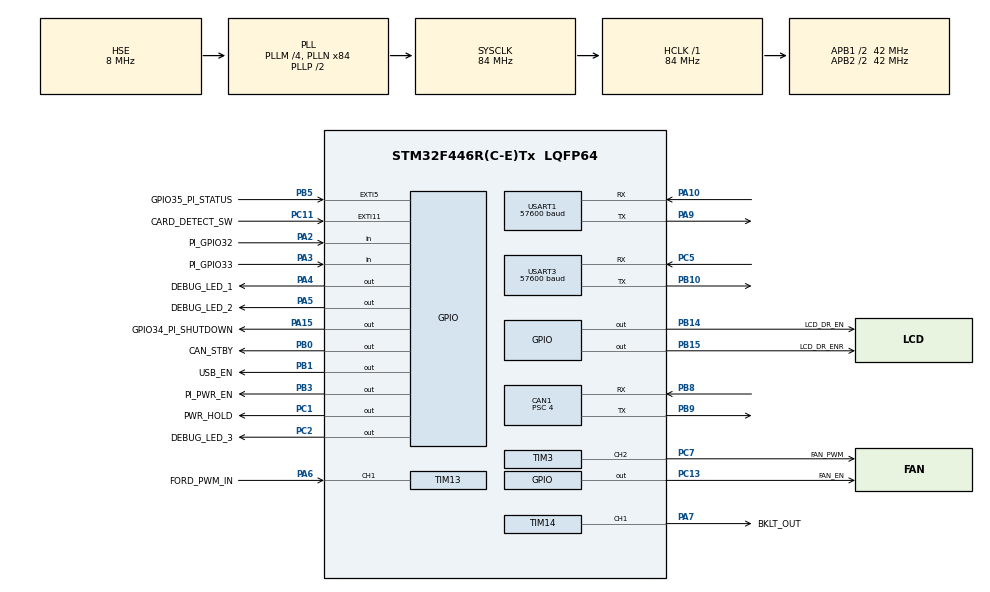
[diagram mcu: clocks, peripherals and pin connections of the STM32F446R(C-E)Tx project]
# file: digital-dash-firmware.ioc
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ADC1.Channel-0\#ChannelRegularConversion=ADC_CHANNEL_TEMPSENSOR
ADC1.ClockPrescaler=ADC_CLOCK_SYNC_PCLK_DIV4
ADC1.NbrOfConversionFlag=1
ADC1.Rank-0\#ChannelRegularConversion=1
ADC1.Resolution=ADC_RESOLUTION_12B
ADC1.SamplingTime-0\#ChannelRegularConversion=ADC_SAMPLETIME_3CYCLES
ADC1.master=1
CAN1.BS1=CAN_BS1_14TQ
CAN1.BS2=CAN_BS2_6TQ
CAN1.CalculateTimeQuantum=95.23809523809524
CAN1.NART=ENABLE
CAN1.Prescaler=4
Mcu.Family=STM32F4
Mcu.Name=STM32F446R(C-E)Tx
Mcu.Package=LQFP64
NVIC.CAN1_RX0_IRQn=true\:0\:0\:false\:false\:true\:true\:true
NVIC.CAN1_RX1_IRQn=true\:0\:0\:false\:false\:true\:true\:true
NVIC.CAN1_TX_IRQn=true\:0\:0\:false\:false\:true\:true\:true
NVIC.EXTI15_10_IRQn=true\:0\:0\:false\:false\:true\:true\:true
NVIC.EXTI9_5_IRQn=true\:0\:0\:false\:false\:true\:true\:true
NVIC.PriorityGroup=NVIC_PRIORITYGROUP_4
NVIC.TIM8_UP_TIM13_IRQn=true\:0\:0\:false\:false\:true\:true\:true
NVIC.USART1_IRQn=true\:0\:0\:false\:false\:true\:true\:true
NVIC.USART3_IRQn=true\:0\:0\:false\:false\:true\:true\:true
PA10.Mode=Asynchronous
PA10.Signal=USART1_RX
PA13.Mode=Serial_Wire
PA13.Signal=SYS_JTMS-SWDIO
PA14.Mode=Serial_Wire
PA14.Signal=SYS_JTCK-SWCLK
PA15.GPIO_Label=GPIO34_PI_SHUTDOWN
PA15.GPIO_PuPd=GPIO_PULLUP
PA15.PinState=GPIO_PIN_SET
PA15.Signal=GPIO_Output
PA2.GPIO_Label=PI_GPIO32
PA2.Signal=GPIO_Input
PA3.GPIO_Label=PI_GPIO33
PA3.Signal=GPIO_Input
PA4.GPIO_Label=DEBUG_LED_1
PA4.PinState=GPIO_PIN_RESET
PA4.Signal=GPIO_Output
PA5.GPIO_Label=DEBUG_LED_2
PA5.PinState=GPIO_PIN_RESET
PA5.Signal=GPIO_Output
PA6.GPIO_Label=FORD_PWM_IN
PA6.GPIO_PuPd=GPIO_NOPULL
PA6.Signal=S_TIM13_CH1
PA7.GPIO_Label=BKLT_OUT
PA7.Signal=S_TIM14_CH1
PA9.Mode=Asynchronous
PA9.Signal=USART1_TX
PB0.GPIO_Label=CAN_STBY
PB0.PinState=GPIO_PIN_RESET
PB0.Signal=GPIO_Output
PB1.GPIO_Label=USB_EN
PB1.PinState=GPIO_PIN_SET
PB1.Signal=GPIO_Output
PB10.Mode=Asynchronous
PB10.Signal=USART3_TX
PB14.GPIO_Label=LCD_DR_EN
PB14.GPIO_ModeDefaultOutputPP=GPIO_MODE_OUTPUT_PP
PB14.GPIO_PuPd=GPIO_PULLDOWN
PB14.PinState=GPIO_PIN_RESET
PB14.Signal=GPIO_Output
PB15.GPIO_Label=LCD_DR_ENR
PB15.GPIO_ModeDefaultOutputPP=GPIO_MODE_OUTPUT_PP
PB15.GPIO_PuPd=GPIO_PULLDOWN
PB15.PinState=GPIO_PIN_RESET
PB15.Signal=GPIO_Output
PB3.GPIO_Label=PI_PWR_EN
PB3.GPIO_ModeDefaultOutputPP=GPIO_MODE_OUTPUT_OD
PB3.PinState=GPIO_PIN_SET
PB3.Signal=GPIO_Output
PB5.GPIO_Label=GPIO35_PI_STATUS
PB5.GPIO_ModeDefaultEXTI=GPIO_MODE_IT_RISING
PB5.GPIO_PuPd=GPIO_PULLDOWN
PB5.Signal=GPXTI5
PB8.Mode=Master
PB8.Signal=CAN1_RX
PB9.Mode=Master
PB9.Signal=CAN1_TX
PC1.GPIO_Label=PWR_HOLD
PC1.Signal=GPIO_Output
PC11.GPIO_Label=CARD_DETECT_SW
PC11.GPIO_ModeDefaultEXTI=GPIO_MODE_IT_RISING_FALLING
PC11.GPIO_PuPd=GPIO_PULLUP
PC11.Signal=GPXTI11
PC13.GPIO_Label=FAN_EN
PC13.Signal=GPIO_Output
PC2.GPIO_Label=DEBUG_LED_3
PC2.PinState=GPIO_PIN_RESET
PC2.Signal=GPIO_Output
PC5.Mode=Asynchronous
PC5.Signal=USART3_RX
PC7.GPIO_Label=FAN_PWM
PC7.Signal=S_TIM3_CH2
PH0-OSC_IN.Mode=HSE-External-Oscillator
PH0-OSC_IN.Signal=RCC_OSC_IN
PH1-OSC_OUT.Mode=HSE-External-Oscillator
PH1-OSC_OUT.Signal=RCC_OSC_OUT
ProjectManager.HeapSize=0x200
ProjectManager.StackSize=0x400
ProjectManager.TargetToolchain=STM32CubeIDE
RCC.AHBFreq_Value=84000000
RCC.APB1CLKDivider=RCC_HCLK_DIV2
RCC.APB1Freq_Value=42000000
RCC.APB1TimFreq_Value=84000000
RCC.APB2CLKDivider=RCC_HCLK_DIV2
RCC.APB2Freq_Value=42000000
RCC.APB2TimFreq_Value=84000000
RCC.CortexFreq_Value=84000000
RCC.HCLKFreq_Value=84000000
RCC.HSE_VALUE=8000000
RCC.PLLM=4
RCC.PLLN=84
RCC.PLLSourceVirtual=RCC_PLLSOURCE_HSE
RCC.SYSCLKFreq_VALUE=84000000
RCC.SYSCLKSource=RCC_SYSCLKSOURCE_PLLCLK
RCC.USBFreq_Value=84000000
RCC.VCOOutputFreq_Value=168000000
SH.S_TIM13_CH1.0=TIM13_CH1,Input_Capture1_from_TI1
SH.S_TIM14_CH1.0=TIM14_CH1,PWM Generation1 CH1
SH.S_TIM3_CH2.0=TIM3_CH2,PWM Generation2 CH2
TIM13.AutoReloadPreload=TIM_AUTORELOAD_PRELOAD_ENABLE
TIM13.Channel=TIM_CHANNEL_1
TIM13.ICPolarity_CH1=TIM_INPUTCHANNELPOLARITY_RISING
TIM13.Period=6700-1
TIM13.Prescaler=84-1
TIM14.Channel=TIM_CHANNEL_1
TIM14.Period=255
TIM14.Prescaler=1
TIM14.Pulse=200
TIM2.Period=10000-1
TIM2.Prescaler=8400-1
TIM3.Channel-PWM\ Generation2\ CH2=TIM_CHANNEL_2
TIM3.Period=10000-1
TIM3.Prescaler=8400-1
TIM3.Pulse-PWM\ Generation2\ CH2=2500-1
TIM8.Period=8000-1
TIM8.Prescaler=64000-1
USART1.BaudRate=57600
USART1.VirtualMode=VM_ASYNC
USART3.BaudRate=57600
USART3.VirtualMode=VM_ASYNC
VP_ADC1_TempSens_Input.Mode=IN-TempSens
VP_TIM13_VS_ClockSourceINT.Mode=Enable_Timer
VP_TIM14_VS_ClockSourceINT.Mode=Enable_Timer
VP_TIM2_VS_ClockSourceINT.Mode=Internal
VP_TIM3_VS_ClockSourceINT.Mode=Internal
VP_TIM8_VS_ClockSourceINT.Mode=Internal
board=custom

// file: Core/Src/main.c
/* USER CODE BEGIN Header */
/**
  ******************************************************************************
  * @file           : main.c
  * @brief          : Main program body
  ******************************************************************************
  * @attention
  *
  * <h2><center>&copy; Copyright (c) 2020 STMicroelectronics.
  * All rights reserved.</center></h2>
  *
  * This software component is licensed by ST under BSD 3-Clause license,
  * the "License"; You may not use this file except in compliance with the
  * License. You may obtain a copy of the License at:
  *                        opensource.org/licenses/BSD-3-Clause
  *
  ******************************************************************************
  */
/* USER CODE END Header */

#include "main.h"
#include "adc.h"
#include "can.h"
#include "tim.h"
#include "usart.h"
#include "gpio.h"

/* USER CODE BEGIN Includes */

#include "lib_digital_dash.h"

/* USER CODE END Includes */

/* USER CODE BEGIN PD */

/*******************************************************************************
 * Begin Debug Flags ( 0 = Disable, 1 = Enable )
 ******************************************************************************/

#define LCD_ALWAYS_ON       0 /* Force the LCD on as long as the Pi can boot */
#define CAN_IT              1 /* Enable/disable CAN bus interrupts */

/*******************************************************************************
 * End Debug Flags
 ******************************************************************************/

/* STM32F446 has 14 dedicated filter banks for CAN 1 */
#define STM32F446_NUM_CAN1_FILTERBANK 14

/* STM32F446 has 14 filter banks for CAN 1 or CAN 2 */
#define STM32F446_NUM_CAN2_FILTERBANK 14

/* The current firmware is only using CAN1 and we don't have a need to occupy the upper 14 filters */
#define MAX_NUM_CAN_FILTERS STM32F446_NUM_CAN1_FILTERBANK

/* Ford Backlight timer defines */
#define FORD_FOCUS_BACKLIGHT_TIM                &htim13
#define FORD_FOCUS_BACKLIGHT_TIM_CHANNEL        TIM_CHANNEL_1
#define FORD_FOCUS_BACKLIGHT_TIM_ACTIVE_CHANNEL HAL_TIM_ACTIVE_CHANNEL_1

/* Digital Dash LCD timer */
#define BKLT_TIM     htim14
#define PBKLT_TIM    &BKLT_TIM
#define BKLT_CHANNEL TIM_CHANNEL_1
#define BKLT_MIN     10  /* Lowest Duty cycle before the screen turns off */
#define BKLT_MAX     255 /* Max Duty cycle */

#define PI_UART &huart1 /* Raspberry Pi communication channel */
#define ECU_CAN &hcan1  /* Primary CAN bus communication (OEM connector) */

#define FAN_PWM 1       /* PCB-DDMB-STRS REV A does not have PWM functionality */

#define POWER_HOLD_TIM     htim8
#define PTR_POWER_HOLD_TIM &POWER_HOLD_TIM

/* USER CODE END PD */

/* USER CODE BEGIN PM */
#define BITSET(word,nbit)   ((word) |=  (1<<(nbit)))
#define BITCLEAR(word,nbit) ((word) &= ~(1<<(nbit)))
#define BITFLIP(word,nbit)  ((word) ^=  (1<<(nbit)))
#define BITCHECK(word,nbit) ((word) &   (1<<(nbit)))
/* USER CODE END PM */

/* USER CODE BEGIN PV */

/* UART RX'd byte */
static uint8_t rx_byte;

/* Timers for debug LEDs */
static uint32_t LED1_Tick = 0;
static uint32_t LED2_Tick = 0;
static uint32_t LED3_Tick = 0;

static uint32_t Sys_Tick  = 0;

/* Number of filters in use */
static uint8_t CAN_Filter_Count = 0;

/* Flag to override auto LCD brightness */
static uint8_t gpio_LCD_override = 0;

volatile uint32_t can_tx_mailbox_status = 0;
volatile uint32_t can_rx_mailbox_status = 0;

static volatile uint32_t system_flags = 0;
    #define SD_CARD_PRESENT     0
    #define PI_PWR_EN           1
    #define PI_PWR_FAULT        2
    #define PI_SHUTTING_DOWN    3
    #define LCD_PWR_EN          4
    #define LCD_BACKLIGHT_EN    5
    #define USB_PWR_EN          6
    #define USB_PWR_FAULT       7
    #define FAN_PWR_EN          8
    #define FAN_PWR_FAULT       9
    #define CAN1_EN             10

#define MCU_THERMAL_THRESH 77
/* USER CODE END PV */

void SystemClock_Config(void);

/* USER CODE BEGIN 0 */
typedef enum _sys_pwr_hold {
	SYS_PWR_HOLD_DISABLE,
	SYS_PWR_HOLD_ENABLE
} SYS_PWR_HOLD, *PSYS_PWR_HOLD;

static void Motherboard_Sleep( void )
{
    HAL_GPIO_WritePin( DEBUG_LED_1_GPIO_Port, DEBUG_LED_1_Pin, GPIO_PIN_RESET );
    HAL_GPIO_WritePin( DEBUG_LED_2_GPIO_Port, DEBUG_LED_2_Pin, GPIO_PIN_RESET );
    HAL_GPIO_WritePin( DEBUG_LED_3_GPIO_Port, DEBUG_LED_3_Pin, GPIO_PIN_RESET );
    //HAL_SuspendTick();
    //HAL_PWR_EnterSLEEPMode(PWR_MAINREGULATOR_ON, PWR_SLEEPENTRY_WFI);
}

static void System_Power_Hold( SYS_PWR_HOLD state )
{
	if( state == SYS_PWR_HOLD_ENABLE )
		HAL_GPIO_WritePin( PWR_HOLD_GPIO_Port, PWR_HOLD_Pin, PWR_HOLD_Active );
	else
		HAL_GPIO_WritePin( PWR_HOLD_GPIO_Port, PWR_HOLD_Pin, PWR_HOLD_Inactive );
}

typedef enum _debug_led {
    DEBUG_LED_1,
    DEBUG_LED_2,
    DEBUG_LED_3,
} DEBUG_LED, *PDEBUG_LED;

static void flash_led( DEBUG_LED led )
{
    if( BITCHECK(system_flags, PI_PWR_EN) == 0 )
        return;
    if( led == DEBUG_LED_1 )
    {
        LED1_Tick = 50;
        HAL_GPIO_WritePin( DEBUG_LED_1_GPIO_Port, DEBUG_LED_1_Pin, GPIO_PIN_SET );
    }
    else if( led == DEBUG_LED_2 )
    {
        LED2_Tick = 50;
        HAL_GPIO_WritePin( DEBUG_LED_2_GPIO_Port, DEBUG_LED_2_Pin, GPIO_PIN_SET );
    }
    else if( led == DEBUG_LED_3 )
    {
        LED3_Tick = 50;
        HAL_GPIO_WritePin( DEBUG_LED_3_GPIO_Port, DEBUG_LED_3_Pin, GPIO_PIN_SET );
    }
}

void HAL_CAN_TxMailbox0CompleteCallback( CAN_HandleTypeDef *hcan )
{
    can_tx_mailbox_status &= ~CAN_TX_MAILBOX0;
}

void HAL_CAN_TxMailbox1CompleteCallback( CAN_HandleTypeDef *hcan )
{
    can_tx_mailbox_status &= ~CAN_TX_MAILBOX1;
}

void HAL_CAN_TxMailbox2CompleteCallback( CAN_HandleTypeDef *hcan )
{
    can_tx_mailbox_status &= ~CAN_TX_MAILBOX2;
}

HAL_StatusTypeDef can_filter( CAN_HandleTypeDef *pcan, uint32_t id, uint32_t mask, uint32_t format, uint32_t filterBank, uint32_t FIFO  )
{
	/* Verify correct format */
    if ( (format == CAN_ID_STD) || (format == CAN_ID_EXT) )
    {
        /* Declare a CAN filter configuration */
        CAN_FilterTypeDef  sFilterConfig;

        /* Verify the filter bank is possible */
        if ( ( filterBank >= 0 ) && ( filterBank <= 13 ) )
            sFilterConfig.FilterBank = filterBank;
        else
            return -1;

        sFilterConfig.FilterMode = CAN_FILTERMODE_IDMASK;
        sFilterConfig.FilterScale = CAN_FILTERSCALE_32BIT;

        if (format == CAN_ID_STD) {
            sFilterConfig.FilterIdHigh = ((id << 5) | (id >> (32 - 5))) & 0xFFFF;
            sFilterConfig.FilterIdLow =  (id >> (11-3)) & 0xFFF8;
            sFilterConfig.FilterMaskIdHigh = ((mask << 5) | (mask >> (32-5))) & 0xFFFF;
            sFilterConfig.FilterMaskIdLow = (mask >> (11-3)) & 0xFFF8;
        } else { // format == CANExtended
            sFilterConfig.FilterIdHigh = id >> 13; // EXTID[28:13]
            sFilterConfig.FilterIdLow = (0xFFFF & (id << 3)) | (1 << 2); // EXTID[12:0] + IDE
            sFilterConfig.FilterMaskIdHigh = mask >> 13;
            sFilterConfig.FilterMaskIdLow = (0xFFFF & (mask << 3)) | (1 << 2);
        }

        sFilterConfig.FilterFIFOAssignment = FIFO;
        sFilterConfig.FilterActivation = ENABLE;
        sFilterConfig.FilterBank = filterBank;
        sFilterConfig.SlaveStartFilterBank = 0x12;

        return HAL_CAN_ConfigFilter(pcan, &sFilterConfig);
    }
    return HAL_ERROR;
}

void process_can_packet( CAN_HandleTypeDef *hcan, uint32_t fifo )
{
    HAL_ResumeTick();
    flash_led( DEBUG_LED_1 );
    CAN_RxHeaderTypeDef rx_header;
    uint8_t rx_buf[8];
    HAL_CAN_GetRxMessage( hcan, fifo, &rx_header, rx_buf );

    if( rx_header.IDE == CAN_ID_STD )
        DigitalDash_Add_CAN_Packet( rx_header.StdId ,rx_buf);

    can_rx_mailbox_status |= fifo;
}

void HAL_CAN_RxFifo0MsgPendingCallback( CAN_HandleTypeDef *hcan )
{
    process_can_packet( hcan, CAN_RX_FIFO0 );
}

void HAL_CAN_RxFifo1MsgPendingCallback( CAN_HandleTypeDef *hcan )
{
    process_can_packet( hcan, CAN_RX_FIFO1 );
}

static void LCD_Brightness( uint8_t brightness)
{
    if( gpio_LCD_override )
    {
        if( BITCHECK( system_flags, LCD_BACKLIGHT_EN ) == 0 )
        {
            /* Backlight is enabled */
            BITSET( system_flags, LCD_BACKLIGHT_EN );

            brightness = 255;

            BKLT_TIM.Instance->CCR1 = brightness;
            HAL_GPIO_WritePin(LCD_DR_ENR_GPIO_Port, LCD_DR_ENR_Pin, GPIO_PIN_SET);
            HAL_GPIO_WritePin(LCD_DR_EN_GPIO_Port, LCD_DR_EN_Pin, GPIO_PIN_SET);
            if( (BKLT_TIM.Instance->CR1 & TIM_CR1_CEN) == 0 )
            	HAL_TIM_PWM_Start(PBKLT_TIM, BKLT_CHANNEL);
        }
    }
    else if( brightness == 0x00 )
    {
#if !LCD_ALWAYS_ON
        /* Backlight is not enabled */
        BITCLEAR( system_flags, LCD_BACKLIGHT_EN );

        HAL_GPIO_WritePin(LCD_DR_ENR_GPIO_Port, LCD_DR_ENR_Pin, GPIO_PIN_RESET);
        HAL_GPIO_WritePin(LCD_DR_EN_GPIO_Port, LCD_DR_EN_Pin, GPIO_PIN_RESET);
        HAL_TIM_PWM_Stop(PBKLT_TIM, BKLT_CHANNEL);
#endif
    } else
    {
        /* Backlight is enabled */
        BITSET( system_flags, LCD_BACKLIGHT_EN );

        BKLT_TIM.Instance->CCR1 = brightness;
        HAL_GPIO_WritePin(LCD_DR_ENR_GPIO_Port, LCD_DR_ENR_Pin, GPIO_PIN_SET);
        HAL_GPIO_WritePin(LCD_DR_EN_GPIO_Port, LCD_DR_EN_Pin, GPIO_PIN_SET);
        if( (BKLT_TIM.Instance->CR1 & TIM_CR1_CEN) == 0 )
        	HAL_TIM_PWM_Start(PBKLT_TIM, BKLT_CHANNEL);
    }
}

static void USB_Power( USB_PWR_STATE state )
{
    if( state == USB_PWR_ENABLED )
        HAL_GPIO_WritePin( USB_EN_GPIO_Port, USB_EN_Pin, GPIO_PIN_SET );
    else
        HAL_GPIO_WritePin( USB_EN_GPIO_Port, USB_EN_Pin, GPIO_PIN_RESET );
}

static void Get_SD_Card_State( void )
{
    if( HAL_GPIO_ReadPin( CARD_DETECT_SW_GPIO_Port, CARD_DETECT_SW_Pin ) == GPIO_PIN_RESET )
    {
        BITSET(system_flags, SD_CARD_PRESENT);
        dd_update_sd_card_state( SD_PRESENT );
    } else
    {
        BITCLEAR(system_flags, SD_CARD_PRESENT);
        dd_update_sd_card_state( SD_NOT_PRESENT );
    }
}

static void Fan_Control( FAN_PWR_STATE state )
{
        #if FAN_PWM
        switch( state )
        {
        case FAN_MAX:
            /* Enable power to the Fan */
            HAL_GPIO_WritePin( FAN_EN_GPIO_Port, FAN_EN_Pin, GPIO_PIN_SET );
            htim3.Instance->CCR2 = htim3.Instance->ARR + 1;
            HAL_TIM_PWM_Start(&htim3, TIM_CHANNEL_2);
            break;
        case FAN_MED:
            /* Enable power to the Fan */
            HAL_GPIO_WritePin( FAN_EN_GPIO_Port, FAN_EN_Pin, GPIO_PIN_SET );
            htim3.Instance->CCR2 = (htim3.Instance->ARR) - 1500;
            HAL_TIM_PWM_Start(&htim3, TIM_CHANNEL_2);
            break;
        case FAN_MIN:
            /* Enable power to the Fan */
            HAL_GPIO_WritePin( FAN_EN_GPIO_Port, FAN_EN_Pin, GPIO_PIN_SET );
            htim3.Instance->CCR2 = (htim3.Instance->ARR) - 3000;
            HAL_TIM_PWM_Start(&htim3, TIM_CHANNEL_2);
            break;
        case FAN_OFF:
            /* Disable power to the Fan */
            HAL_GPIO_WritePin( FAN_EN_GPIO_Port, FAN_EN_Pin, GPIO_PIN_RESET );
            HAL_TIM_PWM_Stop(&htim3, TIM_CHANNEL_2);
            break;
        }
        #else
        if( state > FAN_OFF )
        {
            /* Enable power to the Fan */
            HAL_GPIO_WritePin( FAN_EN_GPIO_Port, FAN_EN_Pin, GPIO_PIN_SET );
            htim2.Instance->CCR3 = htim2.Instance->ARR;
            HAL_TIM_PWM_Start(&htim2, TIM_CHANNEL_3);
        } else {
            /* Disable power to the Fan */
            HAL_GPIO_WritePin( FAN_EN_GPIO_Port, FAN_EN_Pin, GPIO_PIN_RESET );
            HAL_TIM_PWM_Stop(&htim2, TIM_CHANNEL_3);
        }

        #endif
}

static void Pi_Power( HOST_PWR_STATE state )
{
    if( state == HOST_PWR_ENABLED )
    {
        HAL_GPIO_WritePin( GPIO34_PI_SHUTDOWN_GPIO_Port, GPIO34_PI_SHUTDOWN_Pin, GPIO_PIN_SET );
        HAL_GPIO_WritePin( PI_PWR_EN_GPIO_Port, PI_PWR_EN_Pin, GPIO_PIN_SET );
        BITSET(system_flags, PI_PWR_EN);
    } else if ( state == HOST_PWR_SLEEP )
    {
        Fan_Control( FAN_OFF );
        LCD_Brightness( 0 );
        HAL_GPIO_WritePin( GPIO34_PI_SHUTDOWN_GPIO_Port, GPIO34_PI_SHUTDOWN_Pin, GPIO_PIN_RESET );
        System_Power_Hold( SYS_PWR_HOLD_ENABLE );
        POWER_HOLD_TIM.Instance->CNT = 0;
        __HAL_TIM_CLEAR_FLAG( PTR_POWER_HOLD_TIM, TIM_IT_UPDATE );
        HAL_TIM_Base_Start_IT( PTR_POWER_HOLD_TIM );
        BITSET(system_flags, PI_SHUTTING_DOWN);
    } else
    {
        Fan_Control( FAN_OFF );
        LCD_Brightness( 0 );
        System_Power_Hold( SYS_PWR_HOLD_DISABLE );
        BITCLEAR(system_flags, PI_PWR_EN);
    }

}

static uint8_t Rasp_Pi_Tx( uint8_t *data, uint8_t len )
{
	flash_led(DEBUG_LED_3);
    if( HAL_UART_Transmit_IT(PI_UART, data, len) == HAL_OK )
        return 1;
    else
        return 0;
}

static void Add_CAN_Filter( uint16_t id )
{
	if( CAN_Filter_Count < MAX_NUM_CAN_FILTERS )
	{
		if( can_filter( &hcan1, id, 0x7FF, CAN_ID_STD, CAN_Filter_Count++, CAN_FILTER_FIFO0 ) != HAL_OK )
			Error_Handler();
	}
}

static uint8_t ECU_CAN_Tx( uint8_t data[], uint8_t len )
{

	CAN_TxHeaderTypeDef Header = {
	           .DLC                = len,
	           .ExtId              = 0x7E0,
	           .StdId              = 0x7E0,
	           .IDE                = CAN_ID_STD,
	           .RTR                = CAN_RTR_DATA,
	           .TransmitGlobalTime = DISABLE
	};

    uint32_t pTxMailbox = 0;

    /* Copy the buffer */
    uint8_t tx_buf[8];
    memcpy(tx_buf, data, 8);

    /* TODO check for free mailbox */
    if( HAL_CAN_AddTxMessage( ECU_CAN, &Header, tx_buf, &pTxMailbox ) == HAL_OK )
    {
    	/* Log which mailbox sent the packet */
    	can_tx_mailbox_status |= pTxMailbox;
        return 1;
    }
    else
    {
    	flash_led(DEBUG_LED_2);
        return 0;
    }
}

void Digitaldash_Init( void )
{
    DIGITALDASH_CONFIG config;
    config.dd_ecu_tx            = &ECU_CAN_Tx;
    config.dd_fan_ctrl          = &Fan_Control;
    config.dd_get_sd_card_state = &Get_SD_Card_State;
    config.dd_host_ctrl         = &Pi_Power;
    config.dd_ke_tx             = &Rasp_Pi_Tx;
    config.dd_set_backlight     = &LCD_Brightness;
    config.dd_usb               = &USB_Power;
    config.dd_filter            = &Add_CAN_Filter;

    if( digitaldash_init( &config ) != DIGITALDASH_INIT_OK )
        Error_Handler();
}

#define TEMP_SENSOR_AVG_SLOPE_MV_PER_CELSIUS                        2.5f
#define TEMP_SENSOR_VOLTAGE_MV_AT_25                                760.0f
#define ADC_REFERENCE_VOLTAGE_MV                                    3300.0f
#define ADC_MAX_OUTPUT_VALUE                                        4095.0f
#define TEMP110_CAL_VALUE                                           ((uint16_t*)((uint32_t)0x1FFF7A2E))
#define TEMP30_CAL_VALUE                                            ((uint16_t*)((uint32_t)0x1FFF7A2C))
#define TEMP110                                                     110.0f
#define TEMP30                                                      30.0f

int32_t get_mcu_internal_temp( void )
{
		int32_t temperature = 0;
		float sensorValue = 0;

		HAL_ADC_Start(&hadc1);
		if(HAL_ADC_PollForConversion(&hadc1, 100) == HAL_OK)
		{
		  sensorValue = (float)HAL_ADC_GetValue(&hadc1);
		  HAL_ADC_Stop(&hadc1);
		  temperature = (int32_t)((TEMP110 - TEMP30) / ((float)(*TEMP110_CAL_VALUE) - (float)(*TEMP30_CAL_VALUE)) * (sensorValue - (float)(*TEMP30_CAL_VALUE)) + TEMP30);
		}
		else
		{
		  temperature = -273;
		}

		return temperature;
}

static void DigitalDash_Off( void )
{
    /* Stop the timer, Pi shutdown already */
    HAL_TIM_Base_Stop_IT( PTR_POWER_HOLD_TIM );

    /* The Pi has indicated a complete shutdown */
    BITCLEAR( system_flags, PI_SHUTTING_DOWN );

    /* Allow the vehicle to shutdown the Digital Dash */
    System_Power_Hold( SYS_PWR_HOLD_DISABLE );

    /* Cut all power to the Raspberry Pi */
    HAL_GPIO_WritePin( PI_PWR_EN_GPIO_Port, PI_PWR_EN_Pin, GPIO_PIN_RESET );
    BITCLEAR( system_flags, PI_PWR_EN );

    /*
     * Put the Digital Dash motherboard in sleep mode,
     * this only effects vehicles that cannot use hardware
     * to shutdown the Digital Dash such as early model
     * Focus ST's.
     */
    Motherboard_Sleep();
}

void HAL_TIM_PeriodElapsedCallback( TIM_HandleTypeDef *htim )
{
    if( htim == PTR_POWER_HOLD_TIM )
    {
        /*
         * The Pi never drove a signal HIGH on successful shutdown.
         * Shut off to the Pi anyways to reduce power draw and set
         * the Digital Dash into low power state.
         */
        DigitalDash_Off();
    }
}

void HAL_GPIO_EXTI_Callback(uint16_t GPIO_Pin)
{
    /*
     * The Pi is expected to drive a signal HIGH when
     * it has successfully shutdown, at which point the
     * power can be shut off and the Digital Dash can go
     * into low power state.
     */
    if( GPIO_Pin == GPIO35_PI_STATUS_Pin )
    {
        /*
         * This code is not being used yet, instead a timer is used to delay the
         * shutdown. This code should be enabled when the Raspberry Pi can
         * reliably drive the GPIO pin HIGH when it has shutdown.
         */
        //HAL_GPIO_WritePin( DEBUG_LED_2_GPIO_Port, DEBUG_LED_2_Pin, GPIO_PIN_SET);
        //HAL_Delay(100);
        //DigitalDash_Off();
    }
}

/* USER CODE END 0 */

int main(void)
{

  /* MCU Configuration--------------------------------------------------------*/

  /* Reset of all peripherals, Initializes the Flash interface and the Systick. */
  HAL_Init();

  /* Configure the system clock */
  SystemClock_Config();

  /* Initialize all configured peripherals */
  MX_GPIO_Init();
  MX_CAN1_Init();
  MX_TIM3_Init();
  MX_TIM14_Init();
  MX_USART1_UART_Init();
  MX_ADC1_Init();
  MX_TIM2_Init();
  MX_TIM13_Init();
  MX_TIM8_Init();
  MX_USART3_UART_Init();
  /* USER CODE BEGIN 2 */

  HAL_TIM_PWM_Start( &htim2, TIM_CHANNEL_3 );
  HAL_GPIO_WritePin( FAN_EN_GPIO_Port, FAN_EN_Pin, GPIO_PIN_RESET );

  /* Prevent unwanted power-down */
  System_Power_Hold( SYS_PWR_HOLD_DISABLE );

  //Fan_Control( FAN_PWR_ENABLED );

  if( get_mcu_internal_temp() > MCU_THERMAL_THRESH )
  {
	  Fan_Control( FAN_MAX );

	  while( get_mcu_internal_temp() > MCU_THERMAL_THRESH ) { }
  }

#if ENABLE_ALL_CAN_MSG
  for(uint8_t filter_bank = 0; filter_bank < STM32F446_NUM_CAN1_FILTERBANK; filter_bank++)
  {
      if( can_filter( &hcan1, 0x0000, 0x0000, CAN_ID_STD, 0, CAN_FILTER_FIFO0 ) != HAL_OK )
          Error_Handler();
  }
#else
      Add_CAN_Filter( 0x7E8 );
      Add_CAN_Filter( 0x7E0 );
#endif

  if( HAL_CAN_Start( &hcan1 ) != HAL_OK )
      Error_Handler();

#if CAN_IT
  if( HAL_CAN_ActivateNotification( &hcan1, CAN_IT_RX_FIFO0_MSG_PENDING | CAN_IT_RX_FIFO1_MSG_PENDING | CAN_IT_TX_MAILBOX_EMPTY) != HAL_OK )
      Error_Handler();
#endif

  Digitaldash_Init();

#if LCD_ALWAYS_ON
  LCD_Brightness( 255 );
#endif

  /* Configure the UART intetupt */
  HAL_UART_Receive_IT( PI_UART, &rx_byte, 1 );

  /* USER CODE END 2 */

  /* Infinite loop */
  /* USER CODE BEGIN WHILE */
  while (1)
  {
#if !CAN_IT
    if( HAL_CAN_GetRxFifoFillLevel( ECU_CAN, CAN_RX_FIFO0 ) > 0 )
        process_can_packet( ECU_CAN, CAN_RX_FIFO0 );
    else if( HAL_CAN_GetRxFifoFillLevel( ECU_CAN, CAN_RX_FIFO1 ) > 0 )
        process_can_packet( ECU_CAN, CAN_RX_FIFO1 );
#endif

    digitaldash_service();

    /* USER CODE END WHILE */

  }
}

void SystemClock_Config(void)
{
  RCC_OscInitTypeDef RCC_OscInitStruct = {0};
  RCC_ClkInitTypeDef RCC_ClkInitStruct = {0};

  /** Configure the main internal regulator output voltage
  */
  __HAL_RCC_PWR_CLK_ENABLE();
  __HAL_PWR_VOLTAGESCALING_CONFIG(PWR_REGULATOR_VOLTAGE_SCALE3);
  /** Initializes the CPU, AHB and APB busses clocks
  */
  RCC_OscInitStruct.OscillatorType = RCC_OSCILLATORTYPE_HSE;
  RCC_OscInitStruct.HSEState = RCC_HSE_ON;
  RCC_OscInitStruct.PLL.PLLState = RCC_PLL_ON;
  RCC_OscInitStruct.PLL.PLLSource = RCC_PLLSOURCE_HSE;
  RCC_OscInitStruct.PLL.PLLM = 4;
  RCC_OscInitStruct.PLL.PLLN = 84;
  RCC_OscInitStruct.PLL.PLLP = RCC_PLLP_DIV2;
  RCC_OscInitStruct.PLL.PLLQ = 2;
  RCC_OscInitStruct.PLL.PLLR = 2;
  if (HAL_RCC_OscConfig(&RCC_OscInitStruct) != HAL_OK)
  {
    Error_Handler();
  }
  /** Initializes the CPU, AHB and APB busses clocks
  */
  RCC_ClkInitStruct.ClockType = RCC_CLOCKTYPE_HCLK|RCC_CLOCKTYPE_SYSCLK
                              |RCC_CLOCKTYPE_PCLK1|RCC_CLOCKTYPE_PCLK2;
  RCC_ClkInitStruct.SYSCLKSource = RCC_SYSCLKSOURCE_PLLCLK;
  RCC_ClkInitStruct.AHBCLKDivider = RCC_SYSCLK_DIV1;
  RCC_ClkInitStruct.APB1CLKDivider = RCC_HCLK_DIV2;
  RCC_ClkInitStruct.APB2CLKDivider = RCC_HCLK_DIV2;

  if (HAL_RCC_ClockConfig(&RCC_ClkInitStruct, FLASH_LATENCY_2) != HAL_OK)
  {
    Error_Handler();
  }
}

/* USER CODE BEGIN 4 */

void HAL_UART_RxCpltCallback(UART_HandleTypeDef *huart)
{
	if( huart == PI_UART )
	{
		/* Pass the UART byte to the Digital Dash */
		DigitalDash_Add_UART_byte( rx_byte );

		/* Wait for the next byte */
		HAL_UART_Receive_IT( PI_UART, &rx_byte, 1 );
	}
}

uint32_t HAL_GetTick(void)
{
  return Sys_Tick;
}

void HAL_IncTick(void)
{
	Sys_Tick++;

    digitaldash_tick();

    if( LED1_Tick == 0 )
        HAL_GPIO_WritePin( DEBUG_LED_1_GPIO_Port, DEBUG_LED_1_Pin, GPIO_PIN_RESET );
    else
        LED1_Tick--;

    if( LED2_Tick == 0 )
        HAL_GPIO_WritePin( DEBUG_LED_2_GPIO_Port, DEBUG_LED_2_Pin, GPIO_PIN_RESET );
    else
        LED2_Tick--;

    if( LED3_Tick == 0 )
        HAL_GPIO_WritePin( DEBUG_LED_3_GPIO_Port, DEBUG_LED_3_Pin, GPIO_PIN_RESET );
    else
        LED3_Tick--;
}

/* USER CODE END 4 */

void Error_Handler(void)
{
  /* USER CODE BEGIN Error_Handler_Debug */
  /* User can add his own implementation to report the HAL error return state */

    while( 1 )
    {
        HAL_GPIO_TogglePin( DEBUG_LED_1_GPIO_Port, DEBUG_LED_1_Pin );
        LED1_Tick = 60;
        while( LED1_Tick != 0 ) { /* Blocking */ }
    }

  /* USER CODE END Error_Handler_Debug */
}

/************************ (C) COPYRIGHT STMicroelectronics *****END OF FILE****/
